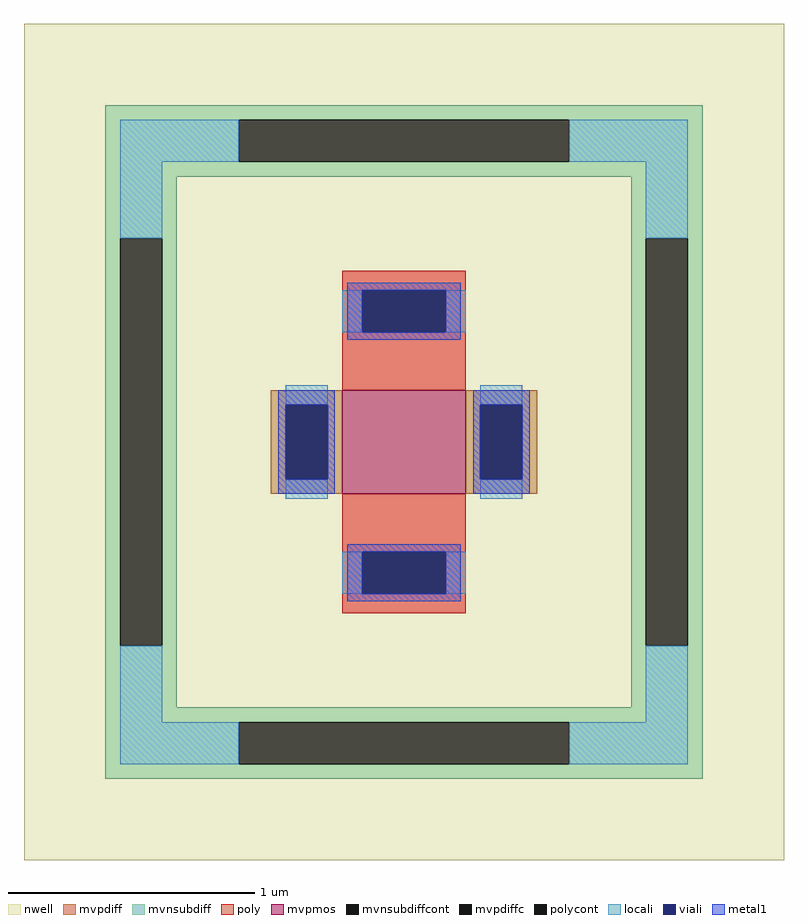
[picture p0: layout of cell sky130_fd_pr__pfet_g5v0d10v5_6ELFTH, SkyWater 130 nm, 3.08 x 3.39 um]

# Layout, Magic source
magic
tech sky130A
magscale 1 2
<< nwell >>
rect -308 -339 308 339
<< mvpmos >>
rect -50 -42 50 42
<< mvpdiff >>
rect -108 30 -50 42
rect -108 -30 -96 30
rect -62 -30 -50 30
rect -108 -42 -50 -30
rect 50 30 108 42
rect 50 -30 62 30
rect 96 -30 108 30
rect 50 -42 108 -30
<< mvpdiffc >>
rect -96 -30 -62 30
rect 62 -30 96 30
<< mvnsubdiff >>
rect -242 261 242 273
rect -242 227 -134 261
rect 134 227 242 261
rect -242 215 242 227
rect -242 165 -184 215
rect -242 -165 -230 165
rect -196 -165 -184 165
rect 184 165 242 215
rect -242 -215 -184 -165
rect 184 -165 196 165
rect 230 -165 242 165
rect 184 -215 242 -165
rect -242 -227 242 -215
rect -242 -261 -134 -227
rect 134 -261 242 -227
rect -242 -273 242 -261
<< mvnsubdiffcont >>
rect -134 227 134 261
rect -230 -165 -196 165
rect 196 -165 230 165
rect -134 -261 134 -227
<< poly >>
rect -50 123 50 139
rect -50 89 -34 123
rect 34 89 50 123
rect -50 42 50 89
rect -50 -89 50 -42
rect -50 -123 -34 -89
rect 34 -123 50 -89
rect -50 -139 50 -123
<< polycont >>
rect -34 89 34 123
rect -34 -123 34 -89
<< locali >>
rect -230 227 -134 261
rect 134 227 230 261
rect -230 165 -196 227
rect 196 165 230 227
rect -50 89 -34 123
rect 34 89 50 123
rect -96 30 -62 46
rect -96 -46 -62 -30
rect 62 30 96 46
rect 62 -46 96 -30
rect -50 -123 -34 -89
rect 34 -123 50 -89
rect -230 -227 -196 -165
rect 196 -227 230 -165
rect -230 -261 -134 -227
rect 134 -261 230 -227
<< viali >>
rect -34 89 34 123
rect -96 -30 -62 30
rect 62 -30 96 30
rect -34 -123 34 -89
<< metal1 >>
rect -46 123 46 129
rect -46 89 -34 123
rect 34 89 46 123
rect -46 83 46 89
rect -102 30 -56 42
rect -102 -30 -96 30
rect -62 -30 -56 30
rect -102 -42 -56 -30
rect 56 30 102 42
rect 56 -30 62 30
rect 96 -30 102 30
rect 56 -42 102 -30
rect -46 -89 46 -83
rect -46 -123 -34 -89
rect 34 -123 46 -89
rect -46 -129 46 -123
<< properties >>
string FIXED_BBOX -213 -244 213 244
string gencell sky130_fd_pr__pfet_g5v0d10v5
string library sky130
string parameters w 0.42 l 0.5 m 1 nf 1 diffcov 100 polycov 100 guard 1 glc 1 grc 1 gtc 1 gbc 1 tbcov 100 rlcov 100 topc 1 botc 1 poverlap 0 doverlap 1 lmin 0.50 wmin 0.42 compatible {sky130_fd_pr__pfet_01v8  sky130_fd_pr__pfet_01v8_lvt sky130_fd_pr__pfet_01v8_hvt  sky130_fd_pr__pfet_g5v0d10v5} full_metal 1 viasrc 100 viadrn 100 viagate 100 viagb 0 viagr 0 viagl 0 viagt 0
<< end >>
